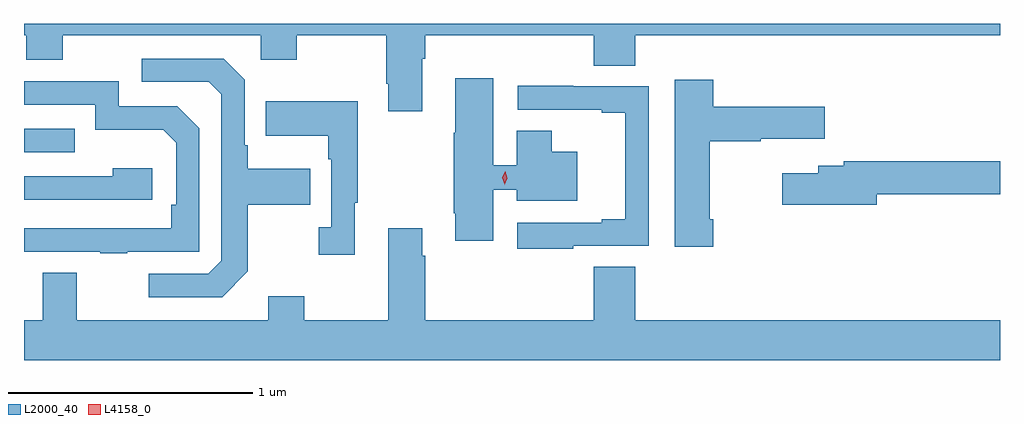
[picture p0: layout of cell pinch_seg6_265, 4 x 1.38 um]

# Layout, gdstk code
import gdstk
lib = gdstk.Library(unit=1e-6, precision=1e-09)
def R(c, l, rs):  # rectangles x0, y0, x1, y1
    for r in rs: c.add(gdstk.rectangle(r[:2], r[2:], *l))
def P(c, l, *ps):  # polygons
    for p in ps: c.add(gdstk.Polygon(p, *l))
L2000_40 = (2000, 40)
L4158_0 = (4158, 0)

pinch_seg6_265 = lib.new_cell('pinch_seg6_265')
R(pinch_seg6_265, L2000_40, [(770.731,997.473,770.939,997.569)])
P(pinch_seg6_265, L2000_40, [(770.731,997.952),(770.741,997.952),(770.741,997.853),(770.889,997.853),(770.889,997.952),(771.702,997.952),(771.702,997.853),(771.849,997.853),(771.849,997.952),(772.216,997.952),(772.216,997.753),(772.223,997.753),(772.223,997.641),(772.363,997.641),(772.363,997.856),(772.376,997.856),(772.376,997.952),(773.066,997.952),(773.066,997.828),(773.237,997.828),(773.237,997.952),(774.731,997.952),(774.731,998),(770.731,998)],
  [(771.649,996.985),(771.649,997.258),(771.905,997.258),(771.905,997.405),(771.649,997.405),(771.649,997.501),(771.636,997.501),(771.636,997.77),(771.549,997.857),(771.213,997.857),(771.213,997.761),(771.489,997.761),(771.54,997.71),(771.54,997.029),(771.486,996.975),(771.243,996.975),(771.243,996.879),(771.543,996.879)],
  [(772.654,997.319),(772.751,997.319),(772.751,997.274),(772.999,997.274),(772.999,997.474),(772.893,997.474),(772.893,997.562),(772.751,997.562),(772.751,997.419),(772.654,997.419),(772.654,997.777),(772.499,997.777),(772.499,997.553),(772.492,997.553),(772.492,997.222),(772.499,997.222),(772.499,997.11),(772.654,997.11)],
  [(773.555,997.198),(773.542,997.198),(773.542,997.517),(773.75,997.517),(773.75,997.529),(774.013,997.529),(774.013,997.659),(773.555,997.659),(773.555,997.771),(773.399,997.771),(773.399,997.086),(773.555,997.086)],
  [(771.155,997.065),(771.45,997.065),(771.45,997.572),(771.36,997.662),(771.12,997.662),(771.12,997.764),(770.731,997.764),(770.731,997.668),(771.024,997.668),(771.024,997.565),(771.301,997.565),(771.354,997.512),(771.354,997.258),(771.334,997.258),(771.334,997.161),(770.731,997.161),(770.731,997.065),(771.043,997.065),(771.043,997.06),(771.155,997.06)],
  [(772.982,997.089),(773.292,997.089),(773.292,997.743),(772.982,997.743),(772.982,997.745),(772.755,997.745),(772.755,997.647),(773.099,997.647),(773.099,997.635),(773.195,997.635),(773.195,997.198),(773.099,997.198),(773.099,997.185),(772.752,997.185),(772.752,997.077),(772.982,997.077)],
  [(772.087,997.265),(772.099,997.265),(772.099,997.681),(771.721,997.681),(771.721,997.541),(771.978,997.541),(771.978,997.445),(771.99,997.445),(771.99,997.166),(771.939,997.166),(771.939,997.053),(772.087,997.053)],
  [(774.226,997.3),(774.731,997.3),(774.731,997.436),(774.091,997.436),(774.091,997.417),(773.987,997.417),(773.987,997.387),(773.838,997.387),(773.838,997.258),(774.226,997.258)],
  [(771.256,997.408),(771.095,997.408),(771.095,997.374),(770.731,997.374),(770.731,997.278),(771.256,997.278)],
  [(774.731,996.784),(773.237,996.784),(773.237,997.004),(773.066,997.004),(773.066,996.784),(772.376,996.784),(772.376,997.049),(772.363,997.049),(772.363,997.162),(772.223,997.162),(772.223,996.784),(771.879,996.784),(771.879,996.883),(771.731,996.883),(771.731,996.784),(770.947,996.784),(770.947,996.979),(770.807,996.979),(770.807,996.784),(770.731,996.784),(770.731,996.62),(774.731,996.62)])
P(pinch_seg6_265, L4158_0, [(772.701,997.34),(772.701,997.341),(772.692,997.368),(772.703,997.395),(772.703,997.395),(772.703,997.395),(772.712,997.367),(772.701,997.341)])

lib.write_gds('pinch_seg6_265.gds')
